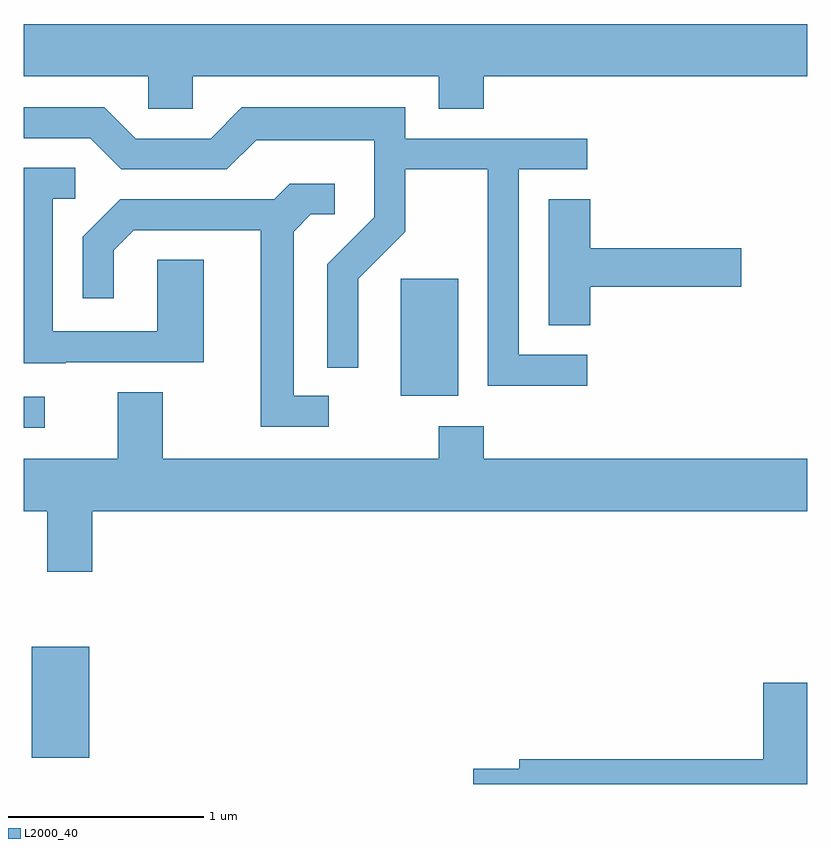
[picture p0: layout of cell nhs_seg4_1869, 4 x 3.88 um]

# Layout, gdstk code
import gdstk
lib = gdstk.Library(unit=1e-6, precision=1e-09)
def R(c, l, rs):  # rectangles x0, y0, x1, y1
    for r in rs: c.add(gdstk.rectangle(r[:2], r[2:], *l))
def P(c, l, *ps):  # polygons
    for p in ps: c.add(gdstk.Polygon(p, *l))
L2000_40 = (2000, 40)

nhs_seg4_1869 = lib.new_cell('nhs_seg4_1869')
R(nhs_seg4_1869, L2000_40, [(239.651,1320.116,239.944,1320.684), (239.611,1321.801,239.718,1321.959), (241.536,1321.966,241.829,1322.564)])
P(nhs_seg4_1869, L2000_40, [(240.474,1323.596),(241.731,1323.596),(241.731,1323.431),(241.959,1323.431),(241.959,1323.596),(243.611,1323.596),(243.611,1323.864),(239.611,1323.864),(239.611,1323.596),(240.246,1323.596),(240.246,1323.431),(240.474,1323.431)],
  [(242.488,1322.174),(242.139,1322.174),(242.139,1323.121),(242.488,1323.121),(242.488,1323.279),(241.559,1323.279),(241.559,1323.439),(240.724,1323.439),(240.564,1323.279),(240.182,1323.279),(240.022,1323.439),(239.611,1323.439),(239.611,1323.281),(239.949,1323.281),(240.109,1323.121),(240.647,1323.121),(240.797,1323.271),(241.401,1323.271),(241.401,1322.877),(241.161,1322.637),(241.161,1322.108),(241.319,1322.108),(241.319,1322.564),(241.559,1322.804),(241.559,1323.121),(241.981,1323.121),(241.981,1322.016),(242.488,1322.016)],
  [(239.825,1322.136),(240.529,1322.136),(240.529,1322.659),(240.291,1322.659),(240.291,1322.294),(239.759,1322.294),(239.759,1322.971),(239.873,1322.971),(239.873,1323.129),(239.611,1323.129),(239.611,1322.131),(239.825,1322.131)],
  [(241.168,1321.964),(240.989,1321.964),(240.989,1322.804),(241.077,1322.891),(241.198,1322.891),(241.198,1323.049),(240.969,1323.049),(240.889,1322.969),(240.104,1322.969),(239.911,1322.777),(239.911,1322.463),(240.069,1322.463),(240.069,1322.709),(240.172,1322.811),(240.821,1322.811),(240.821,1321.806),(241.168,1321.806)],
  [(242.504,1322.521),(243.274,1322.521),(243.274,1322.719),(242.504,1322.719),(242.504,1322.969),(242.291,1322.969),(242.291,1322.326),(242.504,1322.326)],
  [(239.959,1321.376),(243.611,1321.376),(243.611,1321.644),(241.959,1321.644),(241.959,1321.809),(241.731,1321.809),(241.731,1321.644),(240.319,1321.644),(240.319,1321.984),(240.091,1321.984),(240.091,1321.644),(239.611,1321.644),(239.611,1321.376),(239.731,1321.376),(239.731,1321.066),(239.959,1321.066)],
  [(243.611,1320.499),(243.386,1320.499),(243.386,1320.109),(242.141,1320.109),(242.141,1320.059),(241.906,1320.059),(241.906,1319.982),(243.611,1319.982)])

lib.write_gds('nhs_seg4_1869.gds')
